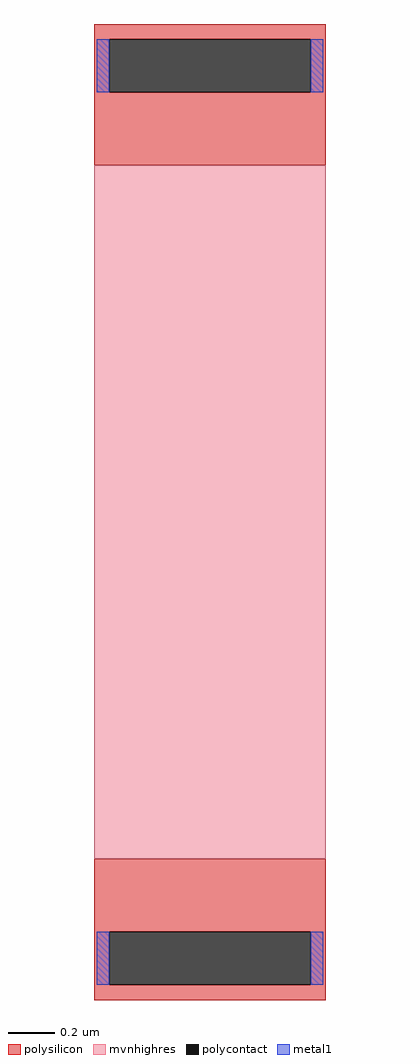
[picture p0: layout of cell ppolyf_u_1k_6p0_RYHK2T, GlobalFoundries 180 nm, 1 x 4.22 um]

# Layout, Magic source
magic
tech gf180mcuD
magscale 1 10
<< polysilicon >>
rect -100 409 100 422
rect -100 363 -87 409
rect 87 363 100 409
rect -100 300 100 363
rect -100 -363 100 -300
rect -100 -409 -87 -363
rect 87 -409 100 -363
rect -100 -422 100 -409
<< polycontact >>
rect -87 363 87 409
rect -87 -409 87 -363
<< mvnhighres >>
rect -100 -300 100 300
<< metal1 >>
rect -98 363 -87 409
rect 87 363 98 409
rect -98 -409 -87 -363
rect 87 -409 98 -363
<< properties >>
string gencell ppolyf_u_1k_6p0
string library gf180mcu
string parameters w 1.0 l 3.0 m 1 nx 1 wmin 1.000 lmin 1.000 class resistor rho 1000 val 3.091k dummy 0 dw 0.0296 term 0.0 sterm 0.0 caplen 0.4 snake 0 glc 0 grc 0 gtc 0 gbc 0 roverlap 0 endcov 100 full_metal 0 guard 0 guard_type pwell compatible {ppolyf_u_1k ppolyf_u_1k_6p0}
<< end >>
